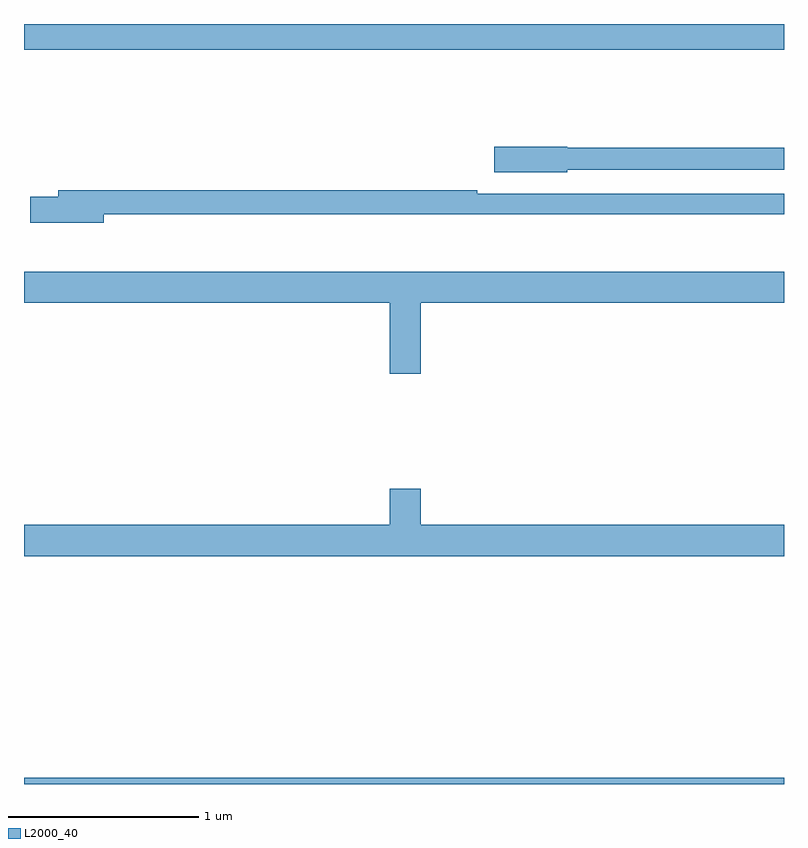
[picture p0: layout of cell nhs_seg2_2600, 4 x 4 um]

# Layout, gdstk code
import gdstk
lib = gdstk.Library(unit=1e-6, precision=1e-09)
def R(c, l, rs):  # rectangles x0, y0, x1, y1
    for r in rs: c.add(gdstk.rectangle(r[:2], r[2:], *l))
def P(c, l, *ps):  # polygons
    for p in ps: c.add(gdstk.Polygon(p, *l))
L2000_40 = (2000, 40)

nhs_seg2_2600 = lib.new_cell('nhs_seg2_2600')
R(nhs_seg2_2600, L2000_40, [(247,615.8,251,615.832), (247,619.664,251,619.8)])
P(nhs_seg2_2600, L2000_40, [(249.858,619.032),(251,619.032),(251,619.148),(249.858,619.148),(249.858,619.154),(249.474,619.154),(249.474,619.019),(249.858,619.019)],
  [(247.42,618.798),(251,618.798),(251,618.906),(249.386,618.906),(249.386,618.926),(247.181,618.926),(247.181,618.89),(247.032,618.89),(247.032,618.755),(247.42,618.755)],
  [(249.088,618.332),(251,618.332),(251,618.496),(247,618.496),(247,618.332),(248.924,618.332),(248.924,617.958),(249.088,617.958)],
  [(251,617.164),(249.088,617.164),(249.088,617.353),(248.924,617.353),(248.924,617.164),(247,617.164),(247,617),(251,617)])

lib.write_gds('nhs_seg2_2600.gds')
